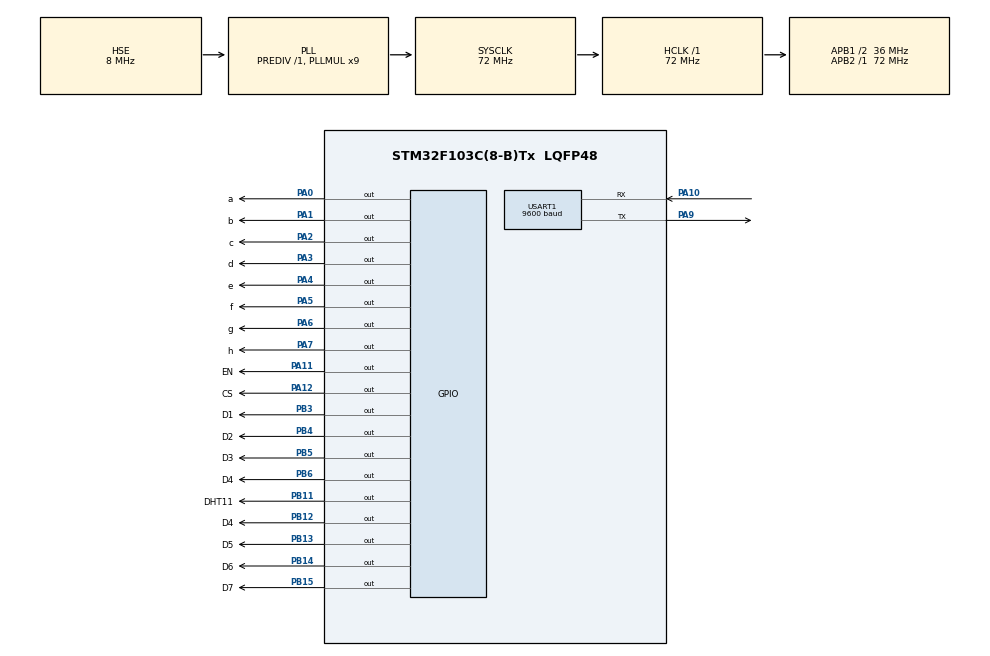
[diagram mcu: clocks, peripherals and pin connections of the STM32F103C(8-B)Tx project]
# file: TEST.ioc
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Mcu.Family=STM32F1
Mcu.Name=STM32F103C(8-B)Tx
Mcu.Package=LQFP48
NVIC.PriorityGroup=NVIC_PRIORITYGROUP_4
NVIC.TIM2_IRQn=true\:0\:0\:false\:false\:true\:true\:true\:true
NVIC.USART1_IRQn=true\:0\:0\:false\:false\:true\:true\:true\:true
PA0-WKUP.GPIO_Label=a
PA0-WKUP.Signal=GPIO_Output
PA1.GPIO_Label=b
PA1.Signal=GPIO_Output
PA10.Mode=Asynchronous
PA10.Signal=USART1_RX
PA11.GPIO_Label=EN
PA11.Signal=GPIO_Output
PA12.GPIO_Label=CS
PA12.Signal=GPIO_Output
PA13.Mode=Serial_Wire
PA13.Signal=SYS_JTMS-SWDIO
PA14.Mode=Serial_Wire
PA14.Signal=SYS_JTCK-SWCLK
PA2.GPIO_Label=c
PA2.Signal=GPIO_Output
PA3.GPIO_Label=d
PA3.Signal=GPIO_Output
PA4.GPIO_Label=e
PA4.Signal=GPIO_Output
PA5.GPIO_Label=f
PA5.Signal=GPIO_Output
PA6.GPIO_Label=g
PA6.Signal=GPIO_Output
PA7.GPIO_Label=h
PA7.Signal=GPIO_Output
PA9.Mode=Asynchronous
PA9.Signal=USART1_TX
PB11.GPIO_Label=DHT11
PB11.GPIO_ModeDefaultOutputPP=GPIO_MODE_OUTPUT_OD
PB11.GPIO_PuPd=GPIO_PULLUP
PB11.Signal=GPIO_Output
PB12.GPIO_Label=D4
PB12.Signal=GPIO_Output
PB13.GPIO_Label=D5
PB13.Signal=GPIO_Output
PB14.GPIO_Label=D6
PB14.Signal=GPIO_Output
PB15.GPIO_Label=D7
PB15.Signal=GPIO_Output
PB3.GPIO_Label=D1
PB3.Signal=GPIO_Output
PB4.GPIO_Label=D2
PB4.Signal=GPIO_Output
PB5.GPIO_Label=D3
PB5.Signal=GPIO_Output
PB6.GPIO_Label=D4
PB6.Signal=GPIO_Output
PD0-OSC_IN.Mode=HSE-External-Oscillator
PD0-OSC_IN.Signal=RCC_OSC_IN
PD1-OSC_OUT.Mode=HSE-External-Oscillator
PD1-OSC_OUT.Signal=RCC_OSC_OUT
ProjectManager.HeapSize=0x200
ProjectManager.StackSize=0x400
ProjectManager.TargetToolchain=MDK-ARM V5.32
RCC.AHBFreq_Value=72000000
RCC.APB1CLKDivider=RCC_HCLK_DIV2
RCC.APB1Freq_Value=36000000
RCC.APB1TimFreq_Value=72000000
RCC.APB2Freq_Value=72000000
RCC.APB2TimFreq_Value=72000000
RCC.HCLKFreq_Value=72000000
RCC.PLLMUL=RCC_PLL_MUL9
RCC.PLLSourceVirtual=RCC_PLLSOURCE_HSE
RCC.SYSCLKFreq_VALUE=72000000
RCC.SYSCLKSource=RCC_SYSCLKSOURCE_PLLCLK
RCC.USBFreq_Value=72000000
TIM2.Period=5-1
TIM2.Prescaler=7200-1
TIM4.Period=0xFFFF -1 
TIM4.Prescaler=72 -1
USART1.BaudRate=9600
USART1.VirtualMode=VM_ASYNC
VP_TIM2_VS_ClockSourceINT.Mode=Internal
VP_TIM4_VS_ClockSourceINT.Mode=Internal
board=custom

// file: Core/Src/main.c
/* USER CODE BEGIN Header */
/**
  ******************************************************************************
  * @file           : main.c
  * @brief          : Main program body
  ******************************************************************************
  * @attention
  *
  * Copyright (c) 2025 STMicroelectronics.
  * All rights reserved.
  *
  * This software is licensed under terms that can be found in the LICENSE file
  * in the root directory of this software component.
  * If no LICENSE file comes with this software, it is provided AS-IS.
  *
  ******************************************************************************
  */
/* USER CODE END Header */
#include "main.h"

/* USER CODE BEGIN PTD */
#include "lcd.h"
#include <stdio.h>
#include <string.h>
/* USER CODE END PTD */

TIM_HandleTypeDef htim2;
TIM_HandleTypeDef htim4;
UART_HandleTypeDef huart1;

/* USER CODE BEGIN PV */
uint16_t Count;
uint8_t RH1, RH2, TC1, TC2, SUM, CHECK;
uint32_t pMillis, cMillis;
float tCelsius = 0;
float tFahrenheit = 0;
float RH = 0;

uint8_t rx_data; // Biến lưu dữ liệu nhận được từ UART
char rx_buffer[100]; // Buffer để lưu chuỗi lệnh
uint8_t rx_index = 0; // Chỉ số của buffer

typedef enum {
    STATE_OFF,
    STATE_ON,
    STATE_START,
    STATE_RESTART,
    STATE_STOP,
} SystemState;

SystemState systemState = STATE_OFF;

typedef enum {
    DISPLAY_CELSIUS, // Hiển thị nhiệt độ C
    DISPLAY_FAHRENHEIT // Hiển thị nhiệt độ F
} DisplayMode;

DisplayMode displayMode = DISPLAY_CELSIUS;

uint8_t led_segments[] = {
    0xC0,  // 0
    0xF9,  // 1
    0xA4,  // 2
    0xB0,  // 3
    0x99,  // 4
    0x92,  // 5
    0x82,  // 6
    0xF8,  // 7
    0x80,  // 8
    0x90   // 9
};

/* USER CODE END PV */

void SystemClock_Config(void);
static void MX_GPIO_Init(void);
static void MX_TIM4_Init(void);
static void MX_USART1_UART_Init(void);
static void MX_TIM2_Init(void);
/* USER CODE BEGIN PFP */

volatile uint32_t tick = 0;  // Global tick counter

/* USER CODE END PFP */

/* USER CODE BEGIN 0 */
#define DHT11_PORT GPIOB
#define DHT11_PIN GPIO_PIN_11

int intPart;
int firstDigit;
int secondDigit;
int decimalPart;
int thirdDigit;
int fourthDigit;

void floatToString(float value, char *str){
    sprintf(str, "%.2f", value);
}

void microDelay (uint16_t delay){
  __HAL_TIM_SET_COUNTER(&htim4, 0);
  while (__HAL_TIM_GET_COUNTER(&htim4) < delay);
}

uint8_t DHT11_Start (void){
  uint8_t Response = 0;
  GPIO_InitTypeDef GPIO_InitStructPrivate = {0};
  GPIO_InitStructPrivate.Pin = DHT11_PIN;
  GPIO_InitStructPrivate.Mode = GPIO_MODE_OUTPUT_PP;
  GPIO_InitStructPrivate.Speed = GPIO_SPEED_FREQ_LOW;
  GPIO_InitStructPrivate.Pull = GPIO_NOPULL;
  HAL_GPIO_Init(DHT11_PORT, &GPIO_InitStructPrivate); // set the pin as output
  HAL_GPIO_WritePin (DHT11_PORT, DHT11_PIN, GPIO_PIN_RESET);   // pull the pin low
  microDelay (20000);   // wait for 20000us
  HAL_GPIO_WritePin (DHT11_PORT, DHT11_PIN, GPIO_PIN_SET);   // pull the pin high
  microDelay (30);   // wait for 30us
  GPIO_InitStructPrivate.Mode = GPIO_MODE_INPUT;
  GPIO_InitStructPrivate.Pull = GPIO_PULLUP;
  HAL_GPIO_Init(DHT11_PORT, &GPIO_InitStructPrivate); // set the pin as input
  microDelay (40);
  if (!(HAL_GPIO_ReadPin (DHT11_PORT, DHT11_PIN)))
  {
    microDelay (80);
    if ((HAL_GPIO_ReadPin (DHT11_PORT, DHT11_PIN))) Response = 1;
  }
  pMillis = HAL_GetTick();
  cMillis = HAL_GetTick();
  while ((HAL_GPIO_ReadPin (DHT11_PORT, DHT11_PIN)) && pMillis + 2 > cMillis)
  {
    cMillis = HAL_GetTick();
  }
  return Response;
}

uint8_t DHT11_Read (void){
  uint8_t a,b;
  for (a=0;a<8;a++)
  {
    pMillis = HAL_GetTick();
    cMillis = HAL_GetTick();
    while (!(HAL_GPIO_ReadPin (DHT11_PORT, DHT11_PIN)) && pMillis + 2 > cMillis)
    {  // wait for the pin to go high
      cMillis = HAL_GetTick();
    }
    microDelay (40);   // wait for 40 us
    if (!(HAL_GPIO_ReadPin (DHT11_PORT, DHT11_PIN)))   // if the pin is low
      b&= ~(1<<(7-a));
    else
      b|= (1<<(7-a));
    pMillis = HAL_GetTick();
    cMillis = HAL_GetTick();
    while ((HAL_GPIO_ReadPin (DHT11_PORT, DHT11_PIN)) && pMillis + 2 > cMillis)
    {  // wait for the pin to go low
      cMillis = HAL_GetTick();
    }
  }
  return b;
}

void displayTemperatureOnLCD(Lcd_HandleTypeDef *lcd, float temperatureC, float temperatureF, float humidity) {
    char tempStr[20], humStr[20];
    if (displayMode == DISPLAY_CELSIUS) {
        sprintf(tempStr, "%.2f\xDF""C", temperatureC);
    } else {
        sprintf(tempStr, "%.2f\xDF""F", temperatureF);
    }
    sprintf(humStr, "%.2f%%", humidity);
    Lcd_cursor(lcd, 0, 9); // Dòng 1, cột 9
    Lcd_string(lcd, tempStr); // Hiển thị nhiệt độ
    Lcd_cursor(lcd, 1, 9); // Dòng 2, cột 9
    Lcd_string(lcd, humStr); // Hiển thị độ ẩm
}
void sendDataViaUART(UART_HandleTypeDef *huart, float temperature, float humidity) {
    char charData[50];
    sprintf(charData, "Lan do: %d\r\n", Count++);
    HAL_UART_Transmit(huart, (uint8_t *)charData, strlen(charData), 1000);
    sprintf(charData, "Nhiet do: %.2f C\r\n", temperature);
    HAL_UART_Transmit(huart, (uint8_t *)charData, strlen(charData), 1000);
    sprintf(charData, "Do am: %.2f %%\r\n", humidity);
    HAL_UART_Transmit(huart, (uint8_t *)charData, strlen(charData), 1000);
}

void displayDigit(uint8_t digit, uint8_t position) {
    HAL_GPIO_WritePin(GPIOB, GPIO_PIN_3 | GPIO_PIN_4 | GPIO_PIN_5 | GPIO_PIN_6, GPIO_PIN_SET);
    GPIOA->ODR = (GPIOA->ODR & 0xFF00) | led_segments[digit];
    switch (position) {
        case 1:
            HAL_GPIO_WritePin(GPIOB, GPIO_PIN_3, GPIO_PIN_RESET);
            break;
        case 2:
            HAL_GPIO_WritePin(GPIOB, GPIO_PIN_4, GPIO_PIN_RESET);
            break;
        case 3:
            HAL_GPIO_WritePin(GPIOB, GPIO_PIN_5, GPIO_PIN_RESET);
            break;
        case 4:
            HAL_GPIO_WritePin(GPIOB, GPIO_PIN_6, GPIO_PIN_RESET);
            break;
    }
}

void displayTemperatureOnLED(float temperature) {
    int intPart = (int)temperature;
    int decimalPart = (int)((temperature - intPart) * 100);
    uint8_t digit1 = intPart / 10;
    uint8_t digit2 = intPart % 10;
    uint8_t digit3 = decimalPart / 10;
    uint8_t digit4 = decimalPart % 10;
    static uint8_t currentPosition = 1;
    switch (currentPosition) {
        case 1: displayDigit(digit1, 1); break;
        case 2: displayDigit(digit2, 2); break;
        case 3: displayDigit(digit3, 3); break;
        case 4: displayDigit(digit4, 4); break;
    }
    currentPosition++;
    if (currentPosition > 4) currentPosition = 1;
}

void display_dot_on_D3(void) {
    HAL_GPIO_WritePin(GPIOA, GPIO_PIN_7, GPIO_PIN_RESET);
}

void clear_dot_on_D3(void) {
    HAL_GPIO_WritePin(GPIOA, GPIO_PIN_7, GPIO_PIN_SET);
}

void HAL_TIM_PeriodElapsedCallback(TIM_HandleTypeDef *htim) {
    if (htim->Instance == TIM2)
		{
        tick++;  // Increment the global tick counter every 1ms
    }
}
void processCommand(char* command) {
    if (strncmp(command, "SET_DISPLAY ", 12) == 0) {
        // Lệnh SET_DISPLAY: Thay đổi chế độ hiển thị
        char* mode = command + 12; // Bỏ qua "SET_DISPLAY "
        if (strcmp(mode, "C") == 0) {
            displayMode = DISPLAY_CELSIUS;
            HAL_UART_Transmit(&huart1, (uint8_t*)"Display mode set to Celsius\r\n", 29, HAL_MAX_DELAY);
        } else if (strcmp(mode, "F") == 0) {
            displayMode = DISPLAY_FAHRENHEIT;
            HAL_UART_Transmit(&huart1, (uint8_t*)"Display mode set to Fahrenheit\r\n", 32, HAL_MAX_DELAY);
        } else {
            HAL_UART_Transmit(&huart1, (uint8_t*)"Invalid display mode\r\n", 22, HAL_MAX_DELAY);
        }
    } else if (strcmp(command, "ON") == 0) {
        systemState = STATE_ON;
        HAL_UART_Transmit(&huart1, (uint8_t*)"System is ON\r\n", 14, HAL_MAX_DELAY);
    } else if (strcmp(command, "OFF") == 0) {
        systemState = STATE_OFF;
        HAL_UART_Transmit(&huart1, (uint8_t*)"System is OFF\r\n", 15, HAL_MAX_DELAY);
    } else if (strcmp(command, "START") == 0) {
        if (systemState == STATE_OFF) {
            HAL_UART_Transmit(&huart1, (uint8_t*)"Cannot START, system is OFF\r\n", 29, HAL_MAX_DELAY);
        } else {
            systemState = STATE_START;
            HAL_UART_Transmit(&huart1, (uint8_t*)"System STARTED\r\n", 16, HAL_MAX_DELAY);
        }
    } else if (strcmp(command, "RESTART") == 0) {
        systemState = STATE_RESTART;
        HAL_UART_Transmit(&huart1, (uint8_t*)"System RESTARTED\r\n", 18, HAL_MAX_DELAY);
    } else if (strcmp(command, "STOP") == 0) {
        if (systemState == STATE_OFF) {
            HAL_UART_Transmit(&huart1, (uint8_t*)"Cannot STOP, system is OFF\r\n", 28, HAL_MAX_DELAY);
        } else {
            systemState = STATE_STOP;
            HAL_UART_Transmit(&huart1, (uint8_t*)"System STOPPED\r\n", 16, HAL_MAX_DELAY);
        }
    } else {
        // Lệnh không hợp lệ
        HAL_UART_Transmit(&huart1, (uint8_t*)"Invalid command\r\n", 17, HAL_MAX_DELAY);
    }
}

void HAL_UART_RxCpltCallback(UART_HandleTypeDef *huart) {
    if (huart->Instance == USART1) {
        if (rx_data == '\r' || rx_data == '\n') {
            rx_buffer[rx_index] = '\0'; // Kết thúc chuỗi
            processCommand(rx_buffer); // Xử lý lệnh
            rx_index = 0; // Reset chỉ số buffer
        } else if (rx_index < sizeof(rx_buffer) - 1) {
            rx_buffer[rx_index++] = rx_data; // Thêm ký tự vào buffer
        } else {
            rx_index = 0; // Reset chỉ số buffer nếu buffer đầy
        }

        // Tiếp tục kích hoạt ngắt để nhận dữ liệu tiếp theo
        HAL_UART_Receive_IT(&huart1, &rx_data, 1);
    }
}
/* USER CODE END 0 */

int main(void)
{

  /* MCU Configuration--------------------------------------------------------*/

  /* Reset of all peripherals, Initializes the Flash interface and the Systick. */
  HAL_Init();

  /* Configure the system clock */
  SystemClock_Config();

  /* Initialize all configured peripherals */
  MX_GPIO_Init();
  MX_TIM4_Init();
  MX_USART1_UART_Init();
  MX_TIM2_Init();
  /* USER CODE BEGIN 2 */
	HAL_TIM_Base_Start(&htim4);
	HAL_TIM_Base_Start_IT(&htim2);

  Lcd_PortType ports[] = { GPIOB, GPIOB, GPIOB, GPIOB };

  Lcd_PinType pins[] = {GPIO_PIN_12, GPIO_PIN_13, GPIO_PIN_14, GPIO_PIN_15}; // Lcd_PinType pins[] = {D4_Pin, D5_Pin, D6_Pin, D7_Pin};
  Lcd_HandleTypeDef lcd;
  // Lcd_create(ports, pins, RS_GPIO_Port, RS_Pin, EN_GPIO_Port, EN_Pin, LCD_4_BIT_MODE);
  lcd = Lcd_create(ports, pins, GPIOA, GPIO_PIN_12, GPIOA, GPIO_PIN_11, LCD_4_BIT_MODE);
  Lcd_cursor(&lcd, 0,0);
  Lcd_string(&lcd, "Nhiet do:");
	HAL_Delay(100);
	Lcd_cursor(&lcd, 1,0);
  Lcd_string(&lcd, "Do am:");

	uint32_t lastReadTime = 0;
  uint32_t lastDisplayTime = 0;
  uint32_t lastUARTTime = 0;
  uint32_t lastLEDTime = 0;
  /* USER CODE END 2 */

  /* Infinite loop */
  /* USER CODE BEGIN WHILE */
  while (1) {
		uint32_t currentTime = tick;
     switch (systemState) {
			 case STATE_ON:
               systemState = STATE_START;
        case STATE_START:
            if (currentTime - lastReadTime >= 2000) {
                lastReadTime = currentTime;
                if (DHT11_Start()) {
                    RH1 = DHT11_Read();
                    RH2 = DHT11_Read();
                    TC1 = DHT11_Read();
                    TC2 = DHT11_Read();
                    SUM = DHT11_Read();
                    CHECK = RH1 + RH2 + TC1 + TC2;
                    if (CHECK == SUM) {
                        tCelsius = (TC1 > 127) ? (float)TC2 / 10 * (-1) : (float)((TC1 << 8) | TC2) / 400;
                        tFahrenheit = tCelsius * 9 / 5 + 32;
                        RH = (float)((RH1 << 8) | RH2) / 200;
                    }
                }
            }
            if (currentTime - lastUARTTime >= 2400) {
                lastUARTTime = currentTime;
                sendDataViaUART(&huart1, tCelsius, RH);
            }

            if (currentTime - lastDisplayTime >= 1000) {
                lastDisplayTime = currentTime;
                displayTemperatureOnLCD(&lcd, tCelsius, tFahrenheit, RH);
            }

            if (currentTime - lastLEDTime >= 1) {
                lastLEDTime = currentTime;
                displayTemperatureOnLED(tCelsius);
            }
            break;

        case STATE_STOP:
                HAL_UART_Transmit(&huart1, (uint8_t*)"System STOPPED\r\n", 16, HAL_MAX_DELAY);
								while (systemState == STATE_STOP) {
									microDelay(50);
								}
								break;
        case STATE_RESTART:
            // Khởi động lại hệ thống
            Count = 1;
            systemState = STATE_START;
            HAL_UART_Transmit(&huart1, (uint8_t*)"System RESTARTED\r\n", 18, HAL_MAX_DELAY);
            break;

        case STATE_OFF: break;

			}
		}
}
    /* USER CODE END WHILE */

void SystemClock_Config(void)
{
  RCC_OscInitTypeDef RCC_OscInitStruct = {0};
  RCC_ClkInitTypeDef RCC_ClkInitStruct = {0};

  /** Initializes the RCC Oscillators according to the specified parameters
  * in the RCC_OscInitTypeDef structure.
  */
  RCC_OscInitStruct.OscillatorType = RCC_OSCILLATORTYPE_HSE;
  RCC_OscInitStruct.HSEState = RCC_HSE_ON;
  RCC_OscInitStruct.HSEPredivValue = RCC_HSE_PREDIV_DIV1;
  RCC_OscInitStruct.HSIState = RCC_HSI_ON;
  RCC_OscInitStruct.PLL.PLLState = RCC_PLL_ON;
  RCC_OscInitStruct.PLL.PLLSource = RCC_PLLSOURCE_HSE;
  RCC_OscInitStruct.PLL.PLLMUL = RCC_PLL_MUL9;
  if (HAL_RCC_OscConfig(&RCC_OscInitStruct) != HAL_OK)
  {
    Error_Handler();
  }

  /** Initializes the CPU, AHB and APB buses clocks
  */
  RCC_ClkInitStruct.ClockType = RCC_CLOCKTYPE_HCLK|RCC_CLOCKTYPE_SYSCLK
                              |RCC_CLOCKTYPE_PCLK1|RCC_CLOCKTYPE_PCLK2;
  RCC_ClkInitStruct.SYSCLKSource = RCC_SYSCLKSOURCE_PLLCLK;
  RCC_ClkInitStruct.AHBCLKDivider = RCC_SYSCLK_DIV1;
  RCC_ClkInitStruct.APB1CLKDivider = RCC_HCLK_DIV2;
  RCC_ClkInitStruct.APB2CLKDivider = RCC_HCLK_DIV1;

  if (HAL_RCC_ClockConfig(&RCC_ClkInitStruct, FLASH_LATENCY_2) != HAL_OK)
  {
    Error_Handler();
  }
}

static void MX_TIM2_Init(void)
{

  TIM_ClockConfigTypeDef sClockSourceConfig = {0};
  TIM_MasterConfigTypeDef sMasterConfig = {0};

  htim2.Instance = TIM2;
  htim2.Init.Prescaler = 7200-1;
  htim2.Init.CounterMode = TIM_COUNTERMODE_UP;
  htim2.Init.Period = 5-1;
  htim2.Init.ClockDivision = TIM_CLOCKDIVISION_DIV1;
  htim2.Init.AutoReloadPreload = TIM_AUTORELOAD_PRELOAD_DISABLE;
  if (HAL_TIM_Base_Init(&htim2) != HAL_OK)
  {
    Error_Handler();
  }
  sClockSourceConfig.ClockSource = TIM_CLOCKSOURCE_INTERNAL;
  if (HAL_TIM_ConfigClockSource(&htim2, &sClockSourceConfig) != HAL_OK)
  {
    Error_Handler();
  }
  sMasterConfig.MasterOutputTrigger = TIM_TRGO_RESET;
  sMasterConfig.MasterSlaveMode = TIM_MASTERSLAVEMODE_DISABLE;
  if (HAL_TIMEx_MasterConfigSynchronization(&htim2, &sMasterConfig) != HAL_OK)
  {
    Error_Handler();
  }

}

static void MX_TIM4_Init(void)
{

  TIM_ClockConfigTypeDef sClockSourceConfig = {0};
  TIM_MasterConfigTypeDef sMasterConfig = {0};

  htim4.Instance = TIM4;
  htim4.Init.Prescaler = 72 -1;
  htim4.Init.CounterMode = TIM_COUNTERMODE_UP;
  htim4.Init.Period = 0xFFFF -1 ;
  htim4.Init.ClockDivision = TIM_CLOCKDIVISION_DIV1;
  htim4.Init.AutoReloadPreload = TIM_AUTORELOAD_PRELOAD_DISABLE;
  if (HAL_TIM_Base_Init(&htim4) != HAL_OK)
  {
    Error_Handler();
  }
  sClockSourceConfig.ClockSource = TIM_CLOCKSOURCE_INTERNAL;
  if (HAL_TIM_ConfigClockSource(&htim4, &sClockSourceConfig) != HAL_OK)
  {
    Error_Handler();
  }
  sMasterConfig.MasterOutputTrigger = TIM_TRGO_RESET;
  sMasterConfig.MasterSlaveMode = TIM_MASTERSLAVEMODE_DISABLE;
  if (HAL_TIMEx_MasterConfigSynchronization(&htim4, &sMasterConfig) != HAL_OK)
  {
    Error_Handler();
  }

}

static void MX_USART1_UART_Init(void)
{

  huart1.Instance = USART1;
  huart1.Init.BaudRate = 9600;
  huart1.Init.WordLength = UART_WORDLENGTH_8B;
  huart1.Init.StopBits = UART_STOPBITS_1;
  huart1.Init.Parity = UART_PARITY_NONE;
  huart1.Init.Mode = UART_MODE_TX_RX;
  huart1.Init.HwFlowCtl = UART_HWCONTROL_NONE;
  huart1.Init.OverSampling = UART_OVERSAMPLING_16;
  if (HAL_UART_Init(&huart1) != HAL_OK)
  {
    Error_Handler();
  }
  /* USER CODE BEGIN USART1_Init 2 */
	HAL_UART_Receive_IT(&huart1, &rx_data, 1);
  /* USER CODE END USART1_Init 2 */

}

static void MX_GPIO_Init(void)
{
  GPIO_InitTypeDef GPIO_InitStruct = {0};

  /* GPIO Ports Clock Enable */
  __HAL_RCC_GPIOD_CLK_ENABLE();
  __HAL_RCC_GPIOA_CLK_ENABLE();
  __HAL_RCC_GPIOB_CLK_ENABLE();

  /*Configure GPIO pin Output Level */
  HAL_GPIO_WritePin(GPIOA, a_Pin|b_Pin|c_Pin|d_Pin
                          |e_Pin|f_Pin|g_Pin|h_Pin
                          |EN_Pin|CS_Pin, GPIO_PIN_RESET);

  /*Configure GPIO pin Output Level */
  HAL_GPIO_WritePin(GPIOB, DHT11_Pin|D4_Pin|D5_Pin|D6_Pin
                          |D7_Pin|D1_Pin|D2_Pin|D3_Pin
                          |D4B6_Pin, GPIO_PIN_RESET);

  /*Configure GPIO pins : a_Pin b_Pin c_Pin d_Pin
                           e_Pin f_Pin g_Pin h_Pin
                           EN_Pin CS_Pin */
  GPIO_InitStruct.Pin = a_Pin|b_Pin|c_Pin|d_Pin
                          |e_Pin|f_Pin|g_Pin|h_Pin
                          |EN_Pin|CS_Pin;
  GPIO_InitStruct.Mode = GPIO_MODE_OUTPUT_PP;
  GPIO_InitStruct.Pull = GPIO_NOPULL;
  GPIO_InitStruct.Speed = GPIO_SPEED_FREQ_LOW;
  HAL_GPIO_Init(GPIOA, &GPIO_InitStruct);

  /*Configure GPIO pin : DHT11_Pin */
  GPIO_InitStruct.Pin = DHT11_Pin;
  GPIO_InitStruct.Mode = GPIO_MODE_OUTPUT_OD;
  GPIO_InitStruct.Pull = GPIO_PULLUP;
  GPIO_InitStruct.Speed = GPIO_SPEED_FREQ_LOW;
  HAL_GPIO_Init(DHT11_GPIO_Port, &GPIO_InitStruct);

  /*Configure GPIO pins : D4_Pin D5_Pin D6_Pin D7_Pin
                           D1_Pin D2_Pin D3_Pin D4B6_Pin */
  GPIO_InitStruct.Pin = D4_Pin|D5_Pin|D6_Pin|D7_Pin
                          |D1_Pin|D2_Pin|D3_Pin|D4B6_Pin;
  GPIO_InitStruct.Mode = GPIO_MODE_OUTPUT_PP;
  GPIO_InitStruct.Pull = GPIO_NOPULL;
  GPIO_InitStruct.Speed = GPIO_SPEED_FREQ_LOW;
  HAL_GPIO_Init(GPIOB, &GPIO_InitStruct);

}

void Error_Handler(void)
{
  __disable_irq();
  while (1)
  {
  }
}
